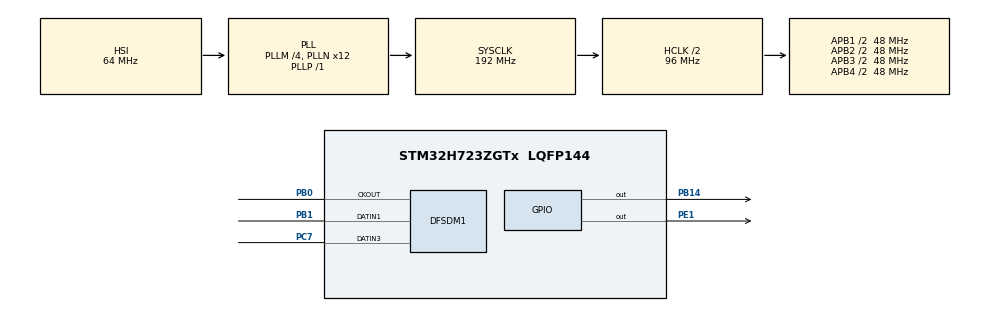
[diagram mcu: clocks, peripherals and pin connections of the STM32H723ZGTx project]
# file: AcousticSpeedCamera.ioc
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CORTEX_M7.default_mode_Activation=1
DFSDM1.Divider=16
DFSDM1.DmaMode_reg_FIL0=ENABLE
DFSDM1.DmaMode_reg_FIL1=ENABLE
DFSDM1.FastMode_reg_FIL0=ENABLE
DFSDM1.FastMode_reg_FIL1=ENABLE
DFSDM1.FilterOrder_CH1=DFSDM_CHANNEL_SINC3_ORDER
DFSDM1.FilterOrder_CH3=DFSDM_CHANNEL_SINC3_ORDER
DFSDM1.Filter_regChannel_FIL0=DFSDM_CHANNEL_1
DFSDM1.Filter_regChannel_FIL1=DFSDM_CHANNEL_3
DFSDM1.Fosr_FIL0=64
DFSDM1.Fosr_FIL1=64
DFSDM1.SincOrder_FIL0=DFSDM_FILTER_SINC3_ORDER
DFSDM1.SincOrder_FIL1=DFSDM_FILTER_SINC3_ORDER
DFSDM1.Type_spi_CH3=DFSDM_CHANNEL_SPI_FALLING
Dma.DFSDM1_FLT0.0.Direction=DMA_PERIPH_TO_MEMORY
Dma.DFSDM1_FLT0.0.EventEnable=DISABLE
Dma.DFSDM1_FLT0.0.FIFOMode=DMA_FIFOMODE_DISABLE
Dma.DFSDM1_FLT0.0.Instance=DMA1_Stream0
Dma.DFSDM1_FLT0.0.MemDataAlignment=DMA_MDATAALIGN_WORD
Dma.DFSDM1_FLT0.0.MemInc=DMA_MINC_ENABLE
Dma.DFSDM1_FLT0.0.Mode=DMA_CIRCULAR
Dma.DFSDM1_FLT0.0.PeriphDataAlignment=DMA_PDATAALIGN_WORD
Dma.DFSDM1_FLT0.0.PeriphInc=DMA_PINC_DISABLE
Dma.DFSDM1_FLT0.0.Polarity=HAL_DMAMUX_REQ_GEN_RISING
Dma.DFSDM1_FLT0.0.Priority=DMA_PRIORITY_VERY_HIGH
Dma.DFSDM1_FLT0.0.RequestNumber=1
Dma.DFSDM1_FLT0.0.SignalID=NONE
Dma.DFSDM1_FLT0.0.SyncEnable=DISABLE
Dma.DFSDM1_FLT0.0.SyncPolarity=HAL_DMAMUX_SYNC_NO_EVENT
Dma.DFSDM1_FLT0.0.SyncRequestNumber=1
Dma.DFSDM1_FLT0.0.SyncSignalID=NONE
Dma.DFSDM1_FLT1.1.Direction=DMA_PERIPH_TO_MEMORY
Dma.DFSDM1_FLT1.1.EventEnable=DISABLE
Dma.DFSDM1_FLT1.1.FIFOMode=DMA_FIFOMODE_DISABLE
Dma.DFSDM1_FLT1.1.Instance=DMA1_Stream1
Dma.DFSDM1_FLT1.1.MemDataAlignment=DMA_MDATAALIGN_WORD
Dma.DFSDM1_FLT1.1.MemInc=DMA_MINC_ENABLE
Dma.DFSDM1_FLT1.1.Mode=DMA_CIRCULAR
Dma.DFSDM1_FLT1.1.PeriphDataAlignment=DMA_PDATAALIGN_WORD
Dma.DFSDM1_FLT1.1.PeriphInc=DMA_PINC_DISABLE
Dma.DFSDM1_FLT1.1.Polarity=HAL_DMAMUX_REQ_GEN_RISING
Dma.DFSDM1_FLT1.1.Priority=DMA_PRIORITY_VERY_HIGH
Dma.DFSDM1_FLT1.1.RequestNumber=1
Dma.DFSDM1_FLT1.1.SignalID=NONE
Dma.DFSDM1_FLT1.1.SyncEnable=DISABLE
Dma.DFSDM1_FLT1.1.SyncPolarity=HAL_DMAMUX_SYNC_NO_EVENT
Dma.DFSDM1_FLT1.1.SyncRequestNumber=1
Dma.DFSDM1_FLT1.1.SyncSignalID=NONE
Dma.Request0=DFSDM1_FLT0
Dma.Request1=DFSDM1_FLT1
FREERTOS.Tasks01=defaultTask,24,128,StartDefaultTask,Default,NULL,Dynamic,NULL,NULL
FREERTOS.configUSE_NEWLIB_REENTRANT=1
Mcu.Family=STM32H7
Mcu.Name=STM32H723ZGTx
Mcu.Package=LQFP144
NUCLEO-H723ZG.VCP=true
NVIC.DFSDM1_FLT0_IRQn=true\:5\:0\:false\:false\:true\:true\:true\:true\:true
NVIC.DFSDM1_FLT1_IRQn=true\:5\:0\:false\:false\:true\:true\:true\:true\:true
NVIC.DMA1_Stream0_IRQn=true\:5\:0\:false\:false\:true\:true\:false\:true\:true
NVIC.DMA1_Stream1_IRQn=true\:5\:0\:false\:false\:true\:true\:false\:true\:true
NVIC.PriorityGroup=NVIC_PRIORITYGROUP_4
NVIC.TIM6_DAC_IRQn=true\:15\:0\:false\:false\:true\:false\:false\:true\:true
NVIC.TimeBase=TIM6_DAC_IRQn
NVIC.TimeBaseIP=TIM6
PA13(JTMS/SWDIO).GPIO_Label=SWDIO
PA13(JTMS/SWDIO).Signal=DEBUG_JTMS-SWDIO
PA14(JTCK/SWCLK).GPIO_Label=SWCLK
PA14(JTCK/SWCLK).Signal=DEBUG_JTCK-SWCLK
PB0.Signal=S_CKOUTDFSDM1
PB1.Signal=S_DATAIN1DFSDM1
PB14.Signal=GPIO_Output
PC14-OSC32_IN.Signal=RCC_OSC32_IN
PC15-OSC32_OUT.Signal=RCC_OSC32_OUT
PC7.Signal=S_DATAIN3DFSDM1
PD8.Signal=USART3_TX
PD9.Signal=USART3_RX
PE1.Signal=GPIO_Output
ProjectManager.HeapSize=0x200
ProjectManager.StackSize=0x400
ProjectManager.TargetToolchain=STM32CubeIDE
RCC.ADCFreq_Value=608000000
RCC.APB1Freq_Value=48000000
RCC.APB2Freq_Value=48000000
RCC.APB3Freq_Value=48000000
RCC.APB4Freq_Value=48000000
RCC.CortexFreq_Value=192000000
RCC.D1PPRE=RCC_APB3_DIV2
RCC.D2PPRE1=RCC_APB1_DIV2
RCC.D2PPRE2=RCC_APB2_DIV2
RCC.D3PPRE=RCC_APB4_DIV2
RCC.DIVM1=4
RCC.DIVM2=1
RCC.DIVN1=12
RCC.DIVN2=19
RCC.DIVP1=1
RCC.DIVQ1=4
RCC.HCLKFreq_Value=96000000
RCC.HPRE=RCC_HCLK_DIV2
RCC.HSE_VALUE=8000000
RCC.PLLFRACN=0
RCC.SYSCLKFreq_VALUE=192000000
RCC.SYSCLKSource=RCC_SYSCLKSOURCE_PLLCLK
RCC.USBCLockSelection=RCC_USBCLKSOURCE_HSI48
RCC.USBFreq_Value=48000000
SH.S_CKOUTDFSDM1.0=DFSDM1_CKOUT,PDM_SPI_input_from_ch3_and_internal_clock
SH.S_CKOUTDFSDM1.1=DFSDM1_CKOUT,PDM_SPI_input_from_ch1_and_internal_clock
SH.S_DATAIN1DFSDM1.0=DFSDM1_DATIN1,PDM_SPI_input_from_ch1_and_internal_clock
SH.S_DATAIN3DFSDM1.0=DFSDM1_DATIN3,PDM_SPI_input_from_ch3_and_internal_clock
VP_FREERTOS_VS_CMSIS_V2.Mode=CMSIS_V2
VP_MEMORYMAP_VS_MEMORYMAP.Mode=CurAppReg
VP_NUCLEO-H723ZG_VS_BSP_COMMON.Mode=COMMON
VP_SYS_VS_tim6.Mode=TIM6
board=NUCLEO-H723ZG

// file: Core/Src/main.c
/* USER CODE BEGIN Header */
/**
  ******************************************************************************
  * @file           : main.c
  * @brief          : Main program body
  ******************************************************************************
  * @attention
  *
  * Copyright (c) 2026 STMicroelectronics.
  * All rights reserved.
  *
  * This software is licensed under terms that can be found in the LICENSE file
  * in the root directory of this software component.
  * If no LICENSE file comes with this software, it is provided AS-IS.
  *
  ******************************************************************************
  */
/* USER CODE END Header */
#include "main.h"
#include "cmsis_os.h"
#include "dfsdm.h"
#include "dma.h"
#include "gpio.h"

/* USER CODE BEGIN Includes */
#include "audio_processor.h"

/* USER CODE END Includes */

COM_InitTypeDef BspCOMInit;

void SystemClock_Config(void);
static void MPU_Config(void);
void MX_FREERTOS_Init(void);
/* USER CODE BEGIN PFP */
void init_hanning_window(void);
void init_a_weighting_table(void);

/* USER CODE END PFP */

/* USER CODE BEGIN 0 */
void init_hanning_window(void) {
	for(int i = 0; i < SAMPLES; i++) {
		hanning_window[i] = 0.5f * (1 - cosf((2 * PI * i) / (SAMPLES - 1)));
		hanning_window_energy += hanning_window[i] * hanning_window[i];
	}
	hanning_window_energy /= SAMPLES;
}

void init_a_weighting_table(void) {
	for(int i = 0; i < SAMPLES; i++) {
		float32_t f = i * FS / SAMPLES;
		float32_t f2 = f * f;
		float32_t numerator = powf(12194.0f, 2.0f);
		float32_t denominator = (f2 + powf(20.6f, 2.0f)) * sqrtf((f2 + powf(107.7f, 2.0f)) * (f2 + powf(737.9f, 2.0f))) * (f2 + powf(12194.0f, 2.0f));
		float32_t Ra = numerator / denominator;
		float32_t Af = 20.0f * log10f(Ra) + 2.0f;
		a_weighting_table[i] = powf(10.0f, Af / 20.0f);
	}
}
/* USER CODE END 0 */

int main(void)
{

  /* MPU Configuration--------------------------------------------------------*/
  MPU_Config();

  /* MCU Configuration--------------------------------------------------------*/

  /* Reset of all peripherals, Initializes the Flash interface and the Systick. */
  HAL_Init();

  /* Configure the system clock */
  SystemClock_Config();

  /* Initialize all configured peripherals */
  MX_GPIO_Init();
  MX_DMA_Init();
  MX_DFSDM1_Init();
  /* USER CODE BEGIN 2 */
  init_hanning_window();
  init_a_weighting_table();

  /* USER CODE END 2 */

  /* Init scheduler */
  osKernelInitialize();  /* Call init function for freertos objects (in cmsis_os2.c) */
  MX_FREERTOS_Init();

  /* Initialize COM1 port (115200, 8 bits (7-bit data + 1 stop bit), no parity */
  BspCOMInit.BaudRate   = 115200;
  BspCOMInit.WordLength = COM_WORDLENGTH_8B;
  BspCOMInit.StopBits   = COM_STOPBITS_1;
  BspCOMInit.Parity     = COM_PARITY_NONE;
  BspCOMInit.HwFlowCtl  = COM_HWCONTROL_NONE;
  if (BSP_COM_Init(COM1, &BspCOMInit) != BSP_ERROR_NONE)
  {
    Error_Handler();
  }

  /* Start scheduler */
  osKernelStart();

  /* We should never get here as control is now taken by the scheduler */

  /* Infinite loop */
  while (1)
  {

  }
}

void SystemClock_Config(void)
{
  RCC_OscInitTypeDef RCC_OscInitStruct = {0};
  RCC_ClkInitTypeDef RCC_ClkInitStruct = {0};

  /** Supply configuration update enable
  */
  HAL_PWREx_ConfigSupply(PWR_LDO_SUPPLY);

  /** Configure the main internal regulator output voltage
  */
  __HAL_PWR_VOLTAGESCALING_CONFIG(PWR_REGULATOR_VOLTAGE_SCALE2);

  while(!__HAL_PWR_GET_FLAG(PWR_FLAG_VOSRDY)) {}

  /** Initializes the RCC Oscillators according to the specified parameters
  * in the RCC_OscInitTypeDef structure.
  */
  RCC_OscInitStruct.OscillatorType = RCC_OSCILLATORTYPE_HSI;
  RCC_OscInitStruct.HSIState = RCC_HSI_DIV1;
  RCC_OscInitStruct.HSICalibrationValue = 64;
  RCC_OscInitStruct.PLL.PLLState = RCC_PLL_ON;
  RCC_OscInitStruct.PLL.PLLSource = RCC_PLLSOURCE_HSI;
  RCC_OscInitStruct.PLL.PLLM = 4;
  RCC_OscInitStruct.PLL.PLLN = 12;
  RCC_OscInitStruct.PLL.PLLP = 1;
  RCC_OscInitStruct.PLL.PLLQ = 4;
  RCC_OscInitStruct.PLL.PLLR = 2;
  RCC_OscInitStruct.PLL.PLLRGE = RCC_PLL1VCIRANGE_3;
  RCC_OscInitStruct.PLL.PLLVCOSEL = RCC_PLL1VCOWIDE;
  RCC_OscInitStruct.PLL.PLLFRACN = 0;
  if (HAL_RCC_OscConfig(&RCC_OscInitStruct) != HAL_OK)
  {
    Error_Handler();
  }

  /** Initializes the CPU, AHB and APB buses clocks
  */
  RCC_ClkInitStruct.ClockType = RCC_CLOCKTYPE_HCLK|RCC_CLOCKTYPE_SYSCLK
                              |RCC_CLOCKTYPE_PCLK1|RCC_CLOCKTYPE_PCLK2
                              |RCC_CLOCKTYPE_D3PCLK1|RCC_CLOCKTYPE_D1PCLK1;
  RCC_ClkInitStruct.SYSCLKSource = RCC_SYSCLKSOURCE_PLLCLK;
  RCC_ClkInitStruct.SYSCLKDivider = RCC_SYSCLK_DIV1;
  RCC_ClkInitStruct.AHBCLKDivider = RCC_HCLK_DIV2;
  RCC_ClkInitStruct.APB3CLKDivider = RCC_APB3_DIV2;
  RCC_ClkInitStruct.APB1CLKDivider = RCC_APB1_DIV2;
  RCC_ClkInitStruct.APB2CLKDivider = RCC_APB2_DIV2;
  RCC_ClkInitStruct.APB4CLKDivider = RCC_APB4_DIV2;

  if (HAL_RCC_ClockConfig(&RCC_ClkInitStruct, FLASH_LATENCY_1) != HAL_OK)
  {
    Error_Handler();
  }
}

 /* MPU Configuration */

void MPU_Config(void)
{
  MPU_Region_InitTypeDef MPU_InitStruct = {0};

  /* Disables the MPU */
  HAL_MPU_Disable();

  /** Initializes and configures the Region and the memory to be protected
  */
  MPU_InitStruct.Enable = MPU_REGION_ENABLE;
  MPU_InitStruct.Number = MPU_REGION_NUMBER0;
  MPU_InitStruct.BaseAddress = 0x0;
  MPU_InitStruct.Size = MPU_REGION_SIZE_4GB;
  MPU_InitStruct.SubRegionDisable = 0x87;
  MPU_InitStruct.TypeExtField = MPU_TEX_LEVEL0;
  MPU_InitStruct.AccessPermission = MPU_REGION_NO_ACCESS;
  MPU_InitStruct.DisableExec = MPU_INSTRUCTION_ACCESS_DISABLE;
  MPU_InitStruct.IsShareable = MPU_ACCESS_SHAREABLE;
  MPU_InitStruct.IsCacheable = MPU_ACCESS_NOT_CACHEABLE;
  MPU_InitStruct.IsBufferable = MPU_ACCESS_NOT_BUFFERABLE;

  HAL_MPU_ConfigRegion(&MPU_InitStruct);
  /* Enables the MPU */
  HAL_MPU_Enable(MPU_PRIVILEGED_DEFAULT);

}

void HAL_TIM_PeriodElapsedCallback(TIM_HandleTypeDef *htim)
{
  if (htim->Instance == TIM6)
  {
    HAL_IncTick();
  }
}

void Error_Handler(void)
{
  __disable_irq();
  while (1)
  {
  }
}

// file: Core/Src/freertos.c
/* USER CODE BEGIN Header */
/**
  ******************************************************************************
  * File Name          : freertos.c
  * Description        : Code for freertos applications
  ******************************************************************************
  * @attention
  *
  * Copyright (c) 2026 STMicroelectronics.
  * All rights reserved.
  *
  * This software is licensed under terms that can be found in the LICENSE file
  * in the root directory of this software component.
  * If no LICENSE file comes with this software, it is provided AS-IS.
  *
  ******************************************************************************
  */
/* USER CODE END Header */

#include "FreeRTOS.h"
#include "task.h"
#include "main.h"
#include "cmsis_os.h"

/* USER CODE BEGIN Includes */
#include <stdint.h>
#include <string.h>

#include "hardware.h"
#include "os_objects.h"
#include "audio_processor.h"

/* USER CODE END Includes */

/* USER CODE BEGIN FunctionPrototypes */
void vAudioTask(void *argument);

/* USER CODE END FunctionPrototypes */

void MX_FREERTOS_Init(void); /* (MISRA C 2004 rule 8.1) */

void MX_FREERTOS_Init(void) {

  /* Create the thread(s) */
  /* USER CODE BEGIN RTOS_THREADS */
  /* add threads, ... */
  audioTaskHandle = osThreadNew(vAudioTask, NULL, &audioTask_attr);
  /* USER CODE END RTOS_THREADS */

}

/* USER CODE BEGIN Application */
void HAL_DFSDM_FilterRegConvHalfCpltCallback(DFSDM_Filter_HandleTypeDef *hdfsdm) {
	if(hdfsdm == &hdfsdm1_filter0) {
		osThreadFlagsSet(audioTaskHandle, 0x01);
	}

	if(hdfsdm == &hdfsdm1_filter1) {
		osThreadFlagsSet(audioTaskHandle, 0x01);
	}
}

void HAL_DFSDM_FilterRegConvCpltCallback(DFSDM_Filter_HandleTypeDef *hdfsdm) {
	if(hdfsdm == &hdfsdm1_filter0) {
		osThreadFlagsSet(audioTaskHandle, 0x02);
	}

	if(hdfsdm == &hdfsdm1_filter1) {
		osThreadFlagsSet(audioTaskHandle, 0x02);
	}
}

void vAudioTask(void *parameter) {
	const char *msg = "audio task start\r\n";
	HAL_UART_Transmit(&hcom_uart[COM1], (uint8_t*)msg, strlen(msg), HAL_MAX_DELAY);

	HAL_StatusTypeDef state_L = HAL_DFSDM_FilterRegularStart_DMA(&hdfsdm1_filter0, dmabuff_L, BUFF_SIZE);
	HAL_StatusTypeDef state_R = HAL_DFSDM_FilterRegularStart_DMA(&hdfsdm1_filter1, dmabuff_R, BUFF_SIZE);

	if(state_L != HAL_OK || state_R != HAL_OK) {
		const char *msg = "DFSDM start error\r\n";
		HAL_UART_Transmit(&hcom_uart[COM1], (uint8_t*)msg, strlen(msg), HAL_MAX_DELAY);
	}

	arm_rfft_fast_init_f32(&fft_handler, FFT_SIZE);

	while(1) {
		uint32_t flags = osThreadFlagsWait(0x03, osFlagsWaitAny, osWaitForever);
		uint32_t part_idx = -1;
		if(flags & 0x01) {
			part_idx = 0;
		}
		else if(flags & 0x02) {
			part_idx = 1;
		}

		uint32_t offset = part_idx * SAMPLES;
		for(int i = 0; i < SAMPLES; i++) {
			fft_inputL[i] = (float32_t)(dmabuff_L[i + offset] >> 8);
			fft_inputR[i] = (float32_t)(dmabuff_R[i + offset] >> 8);
		}

		// removing DC offset
		float32_t meanL = 0.0f;
		float32_t meanR = 0.0f;
		arm_mean_f32(fft_inputL, SAMPLES, &meanL);
		arm_mean_f32(fft_inputR, SAMPLES, &meanR);
		for(int i = 0; i < SAMPLES; i++) {
			fft_inputL[i] -= meanL;
			fft_inputR[i] -= meanR;
		}

		// windowing
		arm_mult_f32(fft_inputL, hanning_window, fft_inputL, SAMPLES);
		arm_mult_f32(fft_inputR, hanning_window, fft_inputR, SAMPLES);

		// FFT
		arm_rfft_fast_f32(&fft_handler, fft_inputL, fft_outputL, 0);
		arm_rfft_fast_f32(&fft_handler, fft_inputR, fft_outputR, 0);

		// magnitude & dBA
		arm_cmplx_mag_f32(fft_outputL, fft_magnitudesL, SAMPLES / 2);
		arm_cmplx_mag_f32(fft_outputR, fft_magnitudesR, SAMPLES / 2);

		for(int i = 0; i < SAMPLES / 2; i++) {
			fft_magnitudesL[i] /= SAMPLES;
			fft_magnitudesR[i] /= SAMPLES;
		}

		float32_t total_powerL = 0.0f;
		float32_t total_powerR = 0.0f;
		for(int i = 1; i < SAMPLES / 2; i++) {
			total_powerL += fft_magnitudesL[i] * fft_magnitudesL[i] * a_weighting_table[i];
			total_powerR += fft_magnitudesR[i] * fft_magnitudesR[i] * a_weighting_table[i];
		}

		total_powerL /= hanning_window_energy;
		total_powerR /= hanning_window_energy;

		float32_t dBA_L = 0.0f;
		float32_t dBA_R = 0.0f;
		dBA_L = 10.0f * log10f(total_powerL);
		dBA_R = 10.0f * log10f(total_powerR);

		char msg[1024];
		sprintf(msg, "dBA L: %.2f, dBA R: %.2f\r\n", dBA_L, dBA_R);
		HAL_UART_Transmit(&hcom_uart[COM1], (uint8_t*)msg, strlen(msg), 10);
	}
	vTaskDelete(NULL);
}

/* USER CODE END Application */
